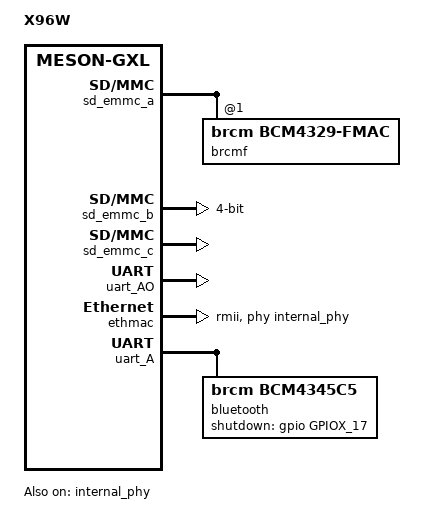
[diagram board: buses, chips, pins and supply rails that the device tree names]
// SPDX-License-Identifier: (GPL-2.0+ OR MIT)
/*
 * Copyright (c) 2018 Martin Blumenstingl <martin.blumenstingl@googlemail.com>.
 * Based on meson-gxl-s905d-p231.dts:
 * - Copyright (c) 2016 Endless Computers, Inc.
 * - Copyright (c) unifreq
 */

/dts-v1/;

#include "meson-gxl-s905w-p281.dts"

/ {
	compatible = "amlogic,p281", "amlogic,s905w", "amlogic,meson-gxl";
	model = "X96W";

	aliases {
		serial0 = &uart_AO;   /* Console */
		serial1 = &uart_A;    /* Bluetooth */
		ethernet0 = &ethmac;
	};
};

/* SDIO wifi: AP6255 */
&sd_emmc_a {
	status = "okay";

	brcmf: wifi@1 {
		reg = <1>;
		compatible = "brcm,bcm4329-fmac";
	};
};

/* SD card */
&sd_emmc_b {
	status = "okay";
	bus-width = <4>;
	cap-sd-highspeed;
	max-frequency = <50000000>;
};

/* eMMC */
&sd_emmc_c {
	status = "okay";
	max-frequency = <50000000>;
};

/* Console UART */
&uart_AO {
	status = "okay";
	pinctrl-0 = <&uart_ao_a_pins>;
	pinctrl-names = "default";
};

/* S905W only has access to its internal PHY */
&ethmac {
	status = "okay";
	phy-mode = "rmii";
	phy-handle = <&internal_phy>;
};

&internal_phy {
	status = "okay";
	pinctrl-0 = <&eth_link_led_pins>, <&eth_act_led_pins>;
	pinctrl-names = "default";
	max-speed = <100>;
};

/* This is connected to the Bluetooth module: AP6255 */
&uart_A {
	status = "okay";
	pinctrl-0 = <&uart_a_pins>, <&uart_a_cts_rts_pins>;
	pinctrl-names = "default";
	uart-has-rtscts;

	bluetooth {
		compatible = "brcm,bcm4345c5";
		shutdown-gpios = <&gpio GPIOX_17 GPIO_ACTIVE_HIGH>;
		max-speed = <2000000>;
		clocks = <&wifi32k>;
		clock-names = "lpo";
	};
};
